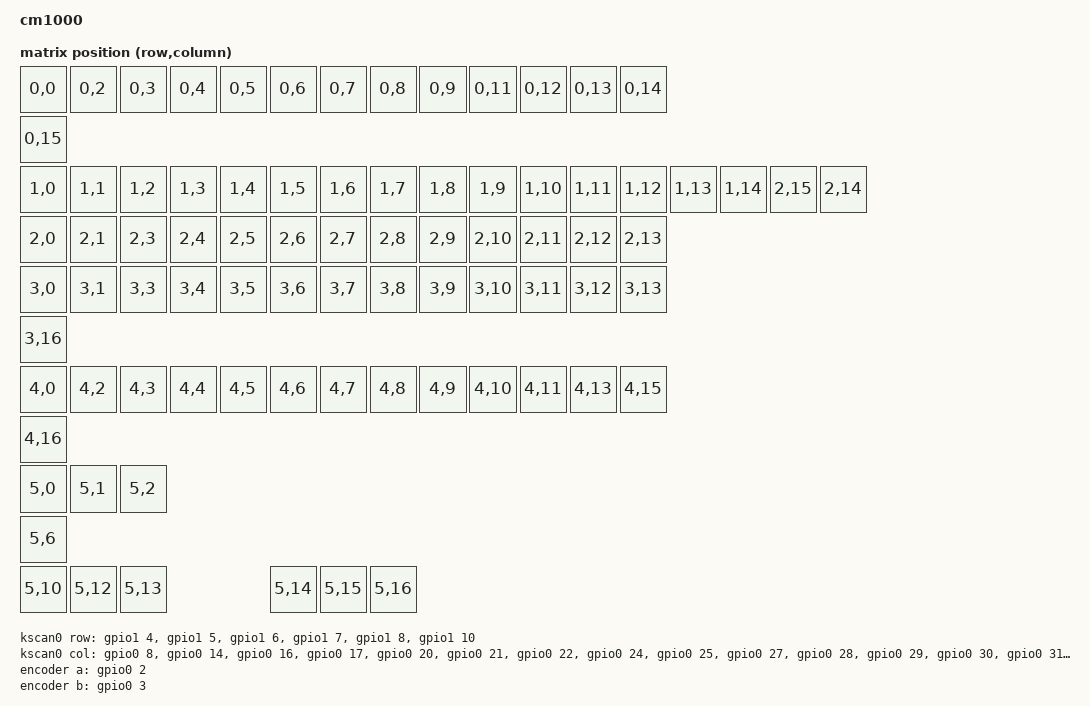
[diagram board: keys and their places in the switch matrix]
/dts-v1/;
#include <nordic/nrf52840_qiaa.dtsi>
#include <dt-bindings/zmk/matrix_transform.h>
#include <dt-bindings/led/led.h>

#include "cm1000-pinctrl.dtsi"
#include "cm1000-layouts.dtsi"

/ {
    model = "cm1000";
    compatible = "cm1000";

    chosen {
        zephyr,code-partition = &code_partition;
        zephyr,sram = &sram0;
        zephyr,flash = &flash0;
        zmk,physical-layout = &default_layout;
        zmk,underglow = &rgb_led_strip;
        zmk,display = &nice_view;
        zmk,battery = &fuel_gauge;
    };

    default_layout: default_layout {
        compatible = "zmk,physical-layout";
        display-name = "Default Layout";
        transform = <&matrix_transform0>;
        kscan = <&kscan0>;
    };

    kscan0: kscan {
        compatible = "zmk,kscan-gpio-matrix";
        diode-direction = "col2row";
        wakeup-source;

        col-gpios
            = <&gpio0 8 GPIO_ACTIVE_HIGH>,
              <&gpio0 14 GPIO_ACTIVE_HIGH>,
              <&gpio0 16 GPIO_ACTIVE_HIGH>,
              <&gpio0 17 GPIO_ACTIVE_HIGH>,
              <&gpio0 20 GPIO_ACTIVE_HIGH>,
              <&gpio0 21 GPIO_ACTIVE_HIGH>,
              <&gpio0 22 GPIO_ACTIVE_HIGH>,
              <&gpio0 24 GPIO_ACTIVE_HIGH>,
              <&gpio0 25 GPIO_ACTIVE_HIGH>,
              <&gpio0 27 GPIO_ACTIVE_HIGH>,
              <&gpio0 28 GPIO_ACTIVE_HIGH>,
              <&gpio0 29 GPIO_ACTIVE_HIGH>,
              <&gpio0 30 GPIO_ACTIVE_HIGH>,
              <&gpio0 31 GPIO_ACTIVE_HIGH>,
              <&gpio1 1 GPIO_ACTIVE_HIGH>,
              <&gpio1 2 GPIO_ACTIVE_HIGH>,
              <&gpio1 3 GPIO_ACTIVE_HIGH>;

        row-gpios
            = <&gpio1 4 (GPIO_ACTIVE_HIGH | GPIO_PULL_DOWN)>,
              <&gpio1 5 (GPIO_ACTIVE_HIGH | GPIO_PULL_DOWN)>,
              <&gpio1 6 (GPIO_ACTIVE_HIGH | GPIO_PULL_DOWN)>,
              <&gpio1 7 (GPIO_ACTIVE_HIGH | GPIO_PULL_DOWN)>,
              <&gpio1 8 (GPIO_ACTIVE_HIGH | GPIO_PULL_DOWN)>,
              <&gpio1 10 (GPIO_ACTIVE_HIGH | GPIO_PULL_DOWN)>;
    };

    matrix_transform0: default_transform {
        compatible = "zmk,matrix-transform";
        columns = <17>;
        rows = <6>;

        map = <
            RC(0,0) RC(0,2) RC(0,3) RC(0,4) RC(0,5) RC(0,6) RC(0,7) RC(0,8) RC(0,9) RC(0,11) RC(0,12) RC(0,13) RC(0,14)
            RC(0,15)
            RC(1,0) RC(1,1) RC(1,2) RC(1,3) RC(1,4) RC(1,5) RC(1,6) RC(1,7) RC(1,8) RC(1,9) RC(1,10) RC(1,11) RC(1,12) RC(1,13)   RC(1,14) RC(2,15) RC(2,14)

            RC(2,0) RC(2,1) RC(2,3) RC(2,4) RC(2,5) RC(2,6) RC(2,7) RC(2,8) RC(2,9) RC(2,10) RC(2,11) RC(2,12) RC(2,13)

            RC(3,0) RC(3,1) RC(3,3) RC(3,4) RC(3,5) RC(3,6) RC(3,7) RC(3,8) RC(3,9) RC(3,10) RC(3,11) RC(3,12) RC(3,13)
            RC(3,16)

            RC(4,0) RC(4,2) RC(4,3) RC(4,4) RC(4,5) RC(4,6) RC(4,7) RC(4,8) RC(4,9) RC(4,10) RC(4,11) RC(4,13) RC(4,15)
            RC(4,16)

            RC(5,0) RC(5,1) RC(5,2)
            RC(5,6)
            RC(5,10) RC(5,12) RC(5,13) RC(5,14)           RC(5,15) RC(5,16)
        >;
    };

    leds {
        compatible = "gpio-leds";
        blue_led: led_0 {
            gpios = <&gpio0 15 GPIO_ACTIVE_HIGH>;
        };
    };

    /* Rotary Encoder - configured with GPIO properties (not pinctrl) */
    encoder: ec11 {
        compatible = "alps,ec11";
        a-gpios = <&gpio0 2 (GPIO_ACTIVE_HIGH | GPIO_PULL_UP)>;  /* ROTA on P0.2 (AIN0) */
        b-gpios = <&gpio0 3 (GPIO_ACTIVE_HIGH | GPIO_PULL_UP)>;  /* ROTB on P0.3 (AIN1) */
        steps = <80>;  /* Pulses per rotation for EC11 encoder */
        status = "okay";  /* Enable the encoder */
    };
    /* Sensors node for encoders */
    sensors: sensors {
        compatible = "zmk,keymap-sensors";
        sensors = <&encoder>;  /* Reference the encoder we defined above */
        triggers-per-rotation = <20>;  /* Number of sensor events per full rotation */
    };

};

&spi3 {
    compatible = "nordic,nrf-spim";
    status = "okay";
    pinctrl-0 = <&spi3_rgb_default>;
    pinctrl-1 = <&spi3_rgb_sleep>;
    pinctrl-names = "default", "sleep";

    /* RGB LED strip data is on MOSI P1.14. */
    rgb_led_strip: ws2812@0 {
        compatible = "worldsemi,ws2812-spi";
        reg = <0>;
        spi-max-frequency = <4000000>;
        chain-length = <82>;
        spi-one-frame = <0x70>;
        spi-zero-frame = <0x40>;
        color-mapping = <LED_COLOR_ID_GREEN LED_COLOR_ID_RED LED_COLOR_ID_BLUE>;
    };
};

&spi1 {
    compatible = "nordic,nrf-spim";
    status = "okay";
    pinctrl-0 = <&spi1_display_default>;
    pinctrl-1 = <&spi1_display_sleep>;
    pinctrl-names = "default", "sleep";

    cs-gpios = <&gpio1 13 GPIO_ACTIVE_HIGH>;

    nice_view: ls011b7dh03@0 {
        compatible = "sharp,ls011b7dh03";
        reg = <0>;
        spi-max-frequency = <2000000>;
        width = <160>;
        height = <68>;
    };
};

&i2c1 {
    compatible = "nordic,nrf-twi";
    status = "okay";
    pinctrl-0 = <&i2c1_battery_default>;
    pinctrl-1 = <&i2c1_battery_sleep>;
    pinctrl-names = "default", "sleep";

    fuel_gauge: max17048@36 {
        compatible = "zmk,maxim-max17048";
        status = "okay";
        reg = <0x36>;
    };
};

&flash0 {
    partitions {
        compatible = "fixed-partitions";
        #address-cells = <1>;
        #size-cells = <1>;

        code_partition: partition@1000 {
            reg = <0x00001000 DT_SIZE_K(844)>;
        };

        storage_partition: partition@d4000 {
            reg = <0x000d4000 DT_SIZE_K(128)>;
        };

        boot_partition: partition@f4000 {
            reg = <0x000f4000 DT_SIZE_K(48)>;
        };
    };
};

&adc { status = "okay"; };
&gpiote { status = "okay"; };
&gpio0 { status = "okay"; };
&gpio1 { status = "okay"; };

zephyr_udc0: &usbd { status = "okay"; };
